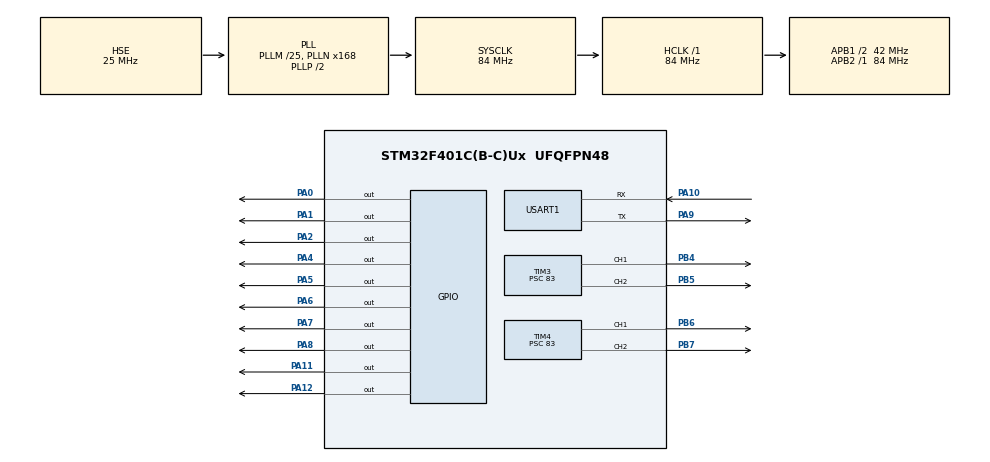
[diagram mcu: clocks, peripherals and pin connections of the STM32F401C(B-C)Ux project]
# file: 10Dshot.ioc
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Dma.Request0=TIM1_UP
Dma.Request1=USART1_TX
Dma.Request2=USART1_RX
Dma.TIM1_UP.0.Direction=DMA_MEMORY_TO_PERIPH
Dma.TIM1_UP.0.FIFOMode=DMA_FIFOMODE_DISABLE
Dma.TIM1_UP.0.Instance=DMA2_Stream5
Dma.TIM1_UP.0.MemDataAlignment=DMA_MDATAALIGN_WORD
Dma.TIM1_UP.0.MemInc=DMA_MINC_ENABLE
Dma.TIM1_UP.0.Mode=DMA_NORMAL
Dma.TIM1_UP.0.PeriphDataAlignment=DMA_PDATAALIGN_WORD
Dma.TIM1_UP.0.PeriphInc=DMA_PINC_DISABLE
Dma.TIM1_UP.0.Priority=DMA_PRIORITY_VERY_HIGH
Dma.USART1_RX.2.Direction=DMA_PERIPH_TO_MEMORY
Dma.USART1_RX.2.FIFOMode=DMA_FIFOMODE_DISABLE
Dma.USART1_RX.2.Instance=DMA2_Stream2
Dma.USART1_RX.2.MemDataAlignment=DMA_MDATAALIGN_BYTE
Dma.USART1_RX.2.MemInc=DMA_MINC_ENABLE
Dma.USART1_RX.2.Mode=DMA_NORMAL
Dma.USART1_RX.2.PeriphDataAlignment=DMA_PDATAALIGN_BYTE
Dma.USART1_RX.2.PeriphInc=DMA_PINC_DISABLE
Dma.USART1_RX.2.Priority=DMA_PRIORITY_HIGH
Dma.USART1_TX.1.Direction=DMA_MEMORY_TO_PERIPH
Dma.USART1_TX.1.FIFOMode=DMA_FIFOMODE_DISABLE
Dma.USART1_TX.1.Instance=DMA2_Stream7
Dma.USART1_TX.1.MemDataAlignment=DMA_MDATAALIGN_WORD
Dma.USART1_TX.1.MemInc=DMA_MINC_ENABLE
Dma.USART1_TX.1.Mode=DMA_NORMAL
Dma.USART1_TX.1.PeriphDataAlignment=DMA_PDATAALIGN_WORD
Dma.USART1_TX.1.PeriphInc=DMA_PINC_DISABLE
Dma.USART1_TX.1.Priority=DMA_PRIORITY_HIGH
Mcu.Family=STM32F4
Mcu.Name=STM32F401C(B-C)Ux
Mcu.Package=UFQFPN48
NVIC.DMA2_Stream2_IRQn=true\:0\:0\:false\:false\:true\:false\:true\:true
NVIC.DMA2_Stream5_IRQn=true\:0\:0\:false\:false\:true\:false\:true\:true
NVIC.DMA2_Stream7_IRQn=true\:0\:0\:false\:false\:true\:false\:true\:true
NVIC.PriorityGroup=NVIC_PRIORITYGROUP_4
NVIC.USART1_IRQn=true\:0\:0\:false\:false\:true\:true\:true\:true
PA0-WKUP.GPIO_Speed=GPIO_SPEED_FREQ_VERY_HIGH
PA0-WKUP.PinState=GPIO_PIN_SET
PA0-WKUP.Signal=GPIO_Output
PA1.GPIO_Speed=GPIO_SPEED_FREQ_VERY_HIGH
PA1.PinState=GPIO_PIN_SET
PA1.Signal=GPIO_Output
PA10.Mode=Asynchronous
PA10.Signal=USART1_RX
PA11.GPIO_Speed=GPIO_SPEED_FREQ_VERY_HIGH
PA11.PinState=GPIO_PIN_SET
PA11.Signal=GPIO_Output
PA12.GPIO_Speed=GPIO_SPEED_FREQ_VERY_HIGH
PA12.PinState=GPIO_PIN_SET
PA12.Signal=GPIO_Output
PA13.Mode=Serial_Wire
PA13.Signal=SYS_JTMS-SWDIO
PA14.Mode=Serial_Wire
PA14.Signal=SYS_JTCK-SWCLK
PA2.GPIO_Speed=GPIO_SPEED_FREQ_VERY_HIGH
PA2.PinState=GPIO_PIN_SET
PA2.Signal=GPIO_Output
PA4.GPIO_Speed=GPIO_SPEED_FREQ_VERY_HIGH
PA4.PinState=GPIO_PIN_SET
PA4.Signal=GPIO_Output
PA5.GPIO_Speed=GPIO_SPEED_FREQ_VERY_HIGH
PA5.PinState=GPIO_PIN_SET
PA5.Signal=GPIO_Output
PA6.GPIO_Speed=GPIO_SPEED_FREQ_VERY_HIGH
PA6.PinState=GPIO_PIN_SET
PA6.Signal=GPIO_Output
PA7.GPIO_Speed=GPIO_SPEED_FREQ_VERY_HIGH
PA7.PinState=GPIO_PIN_SET
PA7.Signal=GPIO_Output
PA8.GPIO_Speed=GPIO_SPEED_FREQ_VERY_HIGH
PA8.PinState=GPIO_PIN_SET
PA8.Signal=GPIO_Output
PA9.Mode=Asynchronous
PA9.Signal=USART1_TX
PB4.Signal=S_TIM3_CH1
PB5.Signal=S_TIM3_CH2
PB6.Signal=S_TIM4_CH1
PB7.Signal=S_TIM4_CH2
PH0\ -\ OSC_IN.Mode=HSE-External-Oscillator
PH0\ -\ OSC_IN.Signal=RCC_OSC_IN
PH1\ -\ OSC_OUT.Mode=HSE-External-Oscillator
PH1\ -\ OSC_OUT.Signal=RCC_OSC_OUT
ProjectManager.HeapSize=0x200
ProjectManager.StackSize=0x400
ProjectManager.TargetToolchain=STM32CubeIDE
RCC.48MHZClocksFreq_Value=42000000
RCC.AHBFreq_Value=84000000
RCC.APB1CLKDivider=RCC_HCLK_DIV2
RCC.APB1Freq_Value=42000000
RCC.APB1TimFreq_Value=84000000
RCC.APB2Freq_Value=84000000
RCC.APB2TimFreq_Value=84000000
RCC.CortexFreq_Value=84000000
RCC.HCLKFreq_Value=84000000
RCC.HSE_VALUE=25000000
RCC.HSI_VALUE=16000000
RCC.LSE_VALUE=32768
RCC.PLLM=25
RCC.PLLN=168
RCC.PLLSourceVirtual=RCC_PLLSOURCE_HSE
RCC.SYSCLKFreq_VALUE=84000000
RCC.SYSCLKSource=RCC_SYSCLKSOURCE_PLLCLK
RCC.VCOOutputFreq_Value=168000000
SH.S_TIM3_CH1.0=TIM3_CH1,PWM Generation1 CH1
SH.S_TIM3_CH2.0=TIM3_CH2,PWM Generation2 CH2
SH.S_TIM4_CH1.0=TIM4_CH1,PWM Generation1 CH1
SH.S_TIM4_CH2.0=TIM4_CH2,PWM Generation2 CH2
TIM1.AutoReloadPreload=TIM_AUTORELOAD_PRELOAD_ENABLE
TIM1.Period=34
TIM1.TIM_MasterSlaveMode=TIM_MASTERSLAVEMODE_DISABLE
TIM3.Channel-PWM\ Generation1\ CH1=TIM_CHANNEL_1
TIM3.Channel-PWM\ Generation2\ CH2=TIM_CHANNEL_2
TIM3.Period=1999
TIM3.Prescaler=83
TIM4.Channel-PWM\ Generation1\ CH1=TIM_CHANNEL_1
TIM4.Channel-PWM\ Generation2\ CH2=TIM_CHANNEL_2
TIM4.Period=19999
TIM4.Prescaler=83
USART1.VirtualMode=VM_ASYNC
VP_TIM1_VS_ClockSourceINT.Mode=Internal
VP_TIM3_VS_ClockSourceINT.Mode=Internal
VP_TIM4_VS_ClockSourceINT.Mode=Internal
board=custom

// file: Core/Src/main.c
/* USER CODE BEGIN Header */
/**
  ******************************************************************************
  * @file           : main.c
  * @brief          : Main program body
  ******************************************************************************
  * @attention
  *
  * Copyright (c) 2025 STMicroelectronics.

  ******************************************************************************
  * @file           : main.c
  * @brief          : Main program body
  ******************************************************************************
  * @attention
  *
  * Copyright (c) 2025 STMicroelectronics.
  * All rights reserved.
  *
  * This software is licensed under terms that can be found in the LICENSE file
  * in the root directory of this software component.
  * If no LICENSE file comes with this software, it is provided AS-IS.
  *
  ******************************************************************************
  */
/* USER CODE END Header */
#include "main.h"
#include "dma.h"
#include "tim.h"
#include "gpio.h"
#include "dshot.h"
#include <string.h>
#include <stdio.h>
#include "pwm.h"
#include "usart.h"
#include "uart_cmd.h"

void SystemClock_Config(void);
void Error_Handler(void);
/* USER CODE BEGIN PFP */

#define DWT_CYCCNT ((volatile uint32_t *)0xE0001004)
void DWT_Delay(uint32_t microseconds) {
    uint32_t start = *DWT_CYCCNT;
    uint32_t cycles = microseconds * (SystemCoreClock / 1000000);
    while((*DWT_CYCCNT - start) < cycles);
}

static inline void short_delay_us(uint32_t us)
{
    volatile uint32_t count = us * (84); // Roughly 1 cycle per loop at 84 MHz
    while (count--) {
        __NOP();
    }
}

/* USER CODE END PFP */
volatile uint16_t current_motor_rpms[MOTORS_COUNT];
extern UART_HandleTypeDef huart1;
/* USER CODE BEGIN 0 */
// Define global flags (no extern here)
volatile uint8_t dshot_send_flag = 0;
volatile bool uart_tx_ready = true; // TX flag

float value = 0.0;
uint16_t pwm_targets[4] = {1500, 1500, 1500, 1500};

/* USER CODE END 0 */

int main(void)
{

  /* MCU Configuration--------------------------------------------------------*/

  /* Reset of all peripherals, Initializes the Flash interface and the Systick. */
  HAL_Init();

  /* USER CODE BEGIN Init */
  CoreDebug->DEMCR |= CoreDebug_DEMCR_TRCENA_Msk;
  DWT->CTRL |= DWT_CTRL_CYCCNTENA_Msk;

  /* USER CODE END Init */

  /* Configure the system clock */
  SystemClock_Config();

  /* USER CODE BEGIN SysInit */
  __HAL_RCC_GPIOA_CLK_ENABLE(); // Enable GPIOA clock
  /* USER CODE END SysInit */

  /* Initialize all configured peripherals */
  MX_GPIO_Init();
  MX_DMA_Init();
  MX_TIM1_Init();
  MX_TIM4_Init();
  MX_TIM3_Init();
  MX_USART1_UART_Init();
  UART_CMD_Init(&huart1);
  PWM_Init();

  // --- DShot Initialization ---
  setup_Dshot_Tx_Only();
  preset_bb_Dshot_buffers();

  // Initialize all motor target RPMs to 0.0 (stop)
    for (int i = 0; i < MOTORS_COUNT; i++) {
        pid_target_speed_rpms[i] = value; // All motors initially stopped
    }

      for (int i = 0; i < MOTORS_COUNT; i++) {
           motor_values[i] = prepare_Dshot_package(0, false); // Send 0 throttle (disarmed)
       }

  // Send this 0 throttle for 200ms
  uint32_t calibration_start_time = HAL_GetTick();
  while (HAL_GetTick() - calibration_start_time < 2000) {
      update_motors_Tx_Only();
      // Keep the small delay to ensure signal integrity during calibration phase too
      for (volatile int i = 0; i < 100; i++);
  }

  for (int i = 0; i < MOTORS_COUNT; i++) {
	  motor_values[i] = prepare_Dshot_package(10, false);
     }

   for (int t = 0; t < 6; t++){
   update_motors_Tx_Only();
   }

   for (int i = 0; i < MOTORS_COUNT; i++) {
   	  motor_values[i] = prepare_Dshot_package(12, false);
        }

   for (int t = 0; t < 6; t++){
   update_motors_Tx_Only();
   }
   HAL_Delay(40);

   Debug_Send_DMA("--- STM32 DShot Controller Started ---\r\n");

  /* Infinite loop */
     /* USER CODE BEGIN WHILE */
     uint32_t last_50hz_time = 0;
     uint32_t last_100hz_time = 0;
     uint32_t now2 = HAL_GetTick();

     uint32_t last_telemetry_timestamp = 0;
     bool telemetry_active = false; // Start with telemetry inactive until first successful read
     uint16_t current_rpm = 0;

  /* Infinite loop */
  while (1) {

	  // Check if new UART data is available and process it
	  if (uart_new_data_available) {
		  process_uart_command();

	  }

	  // Check if new telemetry data is ready
	      if (telemetry_done_flag){
	          // Clear the flag immediately to prepare for the next cycle
	          telemetry_done_flag = 0;
	          last_telemetry_timestamp = HAL_GetTick(); // Update timestamp on success

	          // Step 1: Process the telemetry responses from the previous cycle
	          process_telemetry_with_new_method();

	          // Step 3: Loop through each motor to calculate a new command using PID
	          for (int m = 0; m < MOTORS_COUNT; m++){
	             // uint16_t current_rpm = 0;

	        	  // Use received_numeric_value from UART as the PID target RPM
	        	   float pid_target_rpm_from_uart = pid_target_speed_rpms[m];

	              if (motor_telemetry_data[m].valid_rpm) {
	                  current_rpm = motor_telemetry_data[m].raw_rpm_value;
	                  //Debug_Send_DMA("VALUE: %d %d \r\n",m, current_rpm);

	              }else {
	            	  //current_rpm_for_pid = (uint32_t)fabsf(current_pid_target);
	              }

	              // Calculate PID command. Pass the current RPM and the target RPM from UART.
	               uint16_t new_command = pid_calculate_command(current_rpm, pid_target_rpm_from_uart);
	              motor_values[m] = prepare_Dshot_package(new_command, false);

	              //Debug_Send_DMA("VALUE: %d %d\r\n",m, new_command);

	          }

	          // Step 4: Send the new DShot commands and start the next telemetry reception
	          for (volatile int i = 0; i < 100; i++);
	          update_motors_Tx_Only();

	          telemetry_active = true;
	      }

	      // Add a check for telemetry timeout
	      if (telemetry_active && (HAL_GetTick() - last_telemetry_timestamp > 2000)) {
	          // Telemetry has failed, enter a safe open-loop mode
	          telemetry_active = false;

	          // For all motors, set a safe, constant throttle
	          for (int m = 0; m < MOTORS_COUNT; m++) {
	              motor_values[m] = prepare_Dshot_package(DSHOT_BASE_COMMAND, false);

	             // Debug_Send_DMA("FAILED: %d %d %d",m,motor_telemetry_data[m].raw_rpm_value , motor_telemetry_data[m].voltage);
	          }
	          for (volatile int i = 0; i < 100; i++);
	          update_motors_Tx_Only();
	      }

	      // ---- SERVO PWM UPDATE - Different frequencies
	      now2 = HAL_GetTick();

	      // Update 50Hz PWM motors every 20ms
	      if (now2 - last_50hz_time >= 20) {
	    	  PWM_SetDuty(&htim4, TIM_CHANNEL_1, pwm_targets[0]); // PB6
	    	  PWM_SetDuty(&htim4, TIM_CHANNEL_2, pwm_targets[1]); // PB7
	    	  last_50hz_time = now2;
	      }

	      // Update 100Hz PWM motors every 10ms
	      if (now2 - last_100hz_time >= 10) {
	    	  PWM_SetDuty(&htim3, TIM_CHANNEL_1, pwm_targets[2]); // PB4
	    	  PWM_SetDuty(&htim3, TIM_CHANNEL_2, pwm_targets[3]); // PB5
	    	  last_100hz_time = now2;

	      }

    }
  }

// --- UART Transmit Complete Callback ---
// This function is called by HAL when a UART DMA transmission is complete.
// It sets the uart_tx_ready flag back to true, allowing the next Debug_Send_DMA call.
void HAL_UART_TxCpltCallback(UART_HandleTypeDef *huart)
{
    if (huart->Instance == USART1) // Check if it's our USART1
    {
        uart_tx_ready = true; // Mark TX buffer as ready for next transmission

    }

}

void SystemClock_Config(void)
{
	 RCC_OscInitTypeDef RCC_OscInitStruct = {0};
	  RCC_ClkInitTypeDef RCC_ClkInitStruct = {0};

	  /** Configure the main internal regulator output voltage
	  */
	  __HAL_RCC_PWR_CLK_ENABLE();
	  __HAL_PWR_VOLTAGESCALING_CONFIG(PWR_REGULATOR_VOLTAGE_SCALE2);

	  /** Initializes the RCC Oscillators according to the specified parameters
	  * in the RCC_OscInitTypeDef structure.
	  */
	  RCC_OscInitStruct.OscillatorType = RCC_OSCILLATORTYPE_HSE;
	  RCC_OscInitStruct.HSEState = RCC_HSE_ON;
	  RCC_OscInitStruct.PLL.PLLState = RCC_PLL_ON;
	  RCC_OscInitStruct.PLL.PLLSource = RCC_PLLSOURCE_HSE;
	  RCC_OscInitStruct.PLL.PLLM = 25;
	  RCC_OscInitStruct.PLL.PLLN = 168;
	  RCC_OscInitStruct.PLL.PLLP = RCC_PLLP_DIV2;
	  RCC_OscInitStruct.PLL.PLLQ = 4;
	  if (HAL_RCC_OscConfig(&RCC_OscInitStruct) != HAL_OK)
	  {
	    Error_Handler();
	  }

	  /** Initializes the CPU, AHB and APB buses clocks
	  */
	  RCC_ClkInitStruct.ClockType = RCC_CLOCKTYPE_HCLK|RCC_CLOCKTYPE_SYSCLK
	                              |RCC_CLOCKTYPE_PCLK1|RCC_CLOCKTYPE_PCLK2;
	  RCC_ClkInitStruct.SYSCLKSource = RCC_SYSCLKSOURCE_PLLCLK;
	  RCC_ClkInitStruct.AHBCLKDivider = RCC_SYSCLK_DIV1;
	  RCC_ClkInitStruct.APB1CLKDivider = RCC_HCLK_DIV2;
	  RCC_ClkInitStruct.APB2CLKDivider = RCC_HCLK_DIV1;

	  if (HAL_RCC_ClockConfig(&RCC_ClkInitStruct, FLASH_LATENCY_2) != HAL_OK)
	  {
	    Error_Handler();
	  }
}

void Error_Handler(void)
{
  __disable_irq();
  while (1)
  {
  }
}
